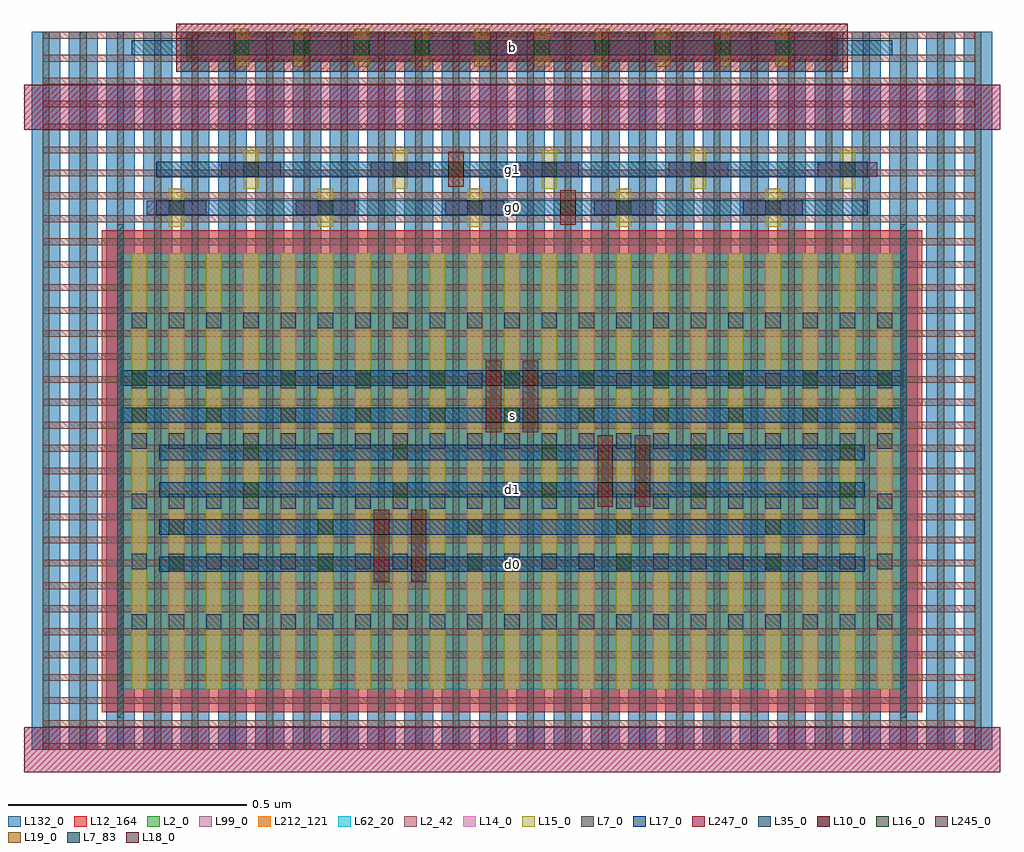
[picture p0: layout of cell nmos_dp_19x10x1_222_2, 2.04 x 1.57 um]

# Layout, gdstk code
import gdstk
lib = gdstk.Library(unit=1e-6, precision=1e-12)
def R(c, l, rs):  # rectangles x0, y0, x1, y1
    for r in rs: c.add(gdstk.rectangle(r[:2], r[2:], *l))
def A(c, l, x, y, w, h, nx, ny, dx, dy):  # array of equal rectangles
    R(c, l, [(x+i*dx, y+j*dy, x+i*dx+w, y+j*dy+h) for i in range(nx) for j in range(ny)])
L2_0 = (2, 0)
L2_42 = (2, 42)
L7_0 = (7, 0)
L7_83 = (7, 83)
L10_0 = (10, 0)
L12_164 = (12, 164)
L14_0 = (14, 0)
L15_0 = (15, 0)
L16_0 = (16, 0)
L17_0 = (17, 0)
L18_0 = (18, 0)
L19_0 = (19, 0)
L35_0 = (35, 0)
L62_20 = (62, 20)
L99_0 = (99, 0)
L132_0 = (132, 0)
L212_121 = (212, 121)
L245_0 = (245, 0)
L247_0 = (247, 0)

nmos_dp_19x10x1_222_2 = lib.new_cell('nmos_dp_19x10x1_222_2')
R(nmos_dp_19x10x1_222_2, L2_0, [(0.186,0.127,1.824,1.039), (0.323,1.439,1.687,1.499)])
A(nmos_dp_19x10x1_222_2, L2_42, 0.023, 0, 1.95, 0.014, 1, 32, 0, 0.048)
A(nmos_dp_19x10x1_222_2, L7_0, 0.023, 0, 0.014, 1.502, 26, 1, 0.078, 0)
R(nmos_dp_19x10x1_222_2, L7_83, [(0.179,0.067,0.193,1.099), (1.817,0.067,1.831,1.099)])
R(nmos_dp_19x10x1_222_2, L10_0, [(0.303,1.419,1.707,1.519)])
R(nmos_dp_19x10x1_222_2, L12_164, [(0.147,0.079,1.863,1.087)])
A(nmos_dp_19x10x1_222_2, L14_0, 0.208, 0.127, 0.034, 0.912, 21, 1, 0.078, 0)
R(nmos_dp_19x10x1_222_2, L14_0, [(0.338,1.449,1.672,1.489)])
A(nmos_dp_19x10x1_222_2, L15_0, 0.209, 0.127, 0.032, 0.912, 21, 1, 0.078, 0)
A(nmos_dp_19x10x1_222_2, L15_0, 0.287, 1.094, 0.032, 0.08, 5, 1, 0.312, 0)
A(nmos_dp_19x10x1_222_2, L15_0, 0.443, 1.174, 0.032, 0.08, 5, 1, 0.312, 0)
A(nmos_dp_19x10x1_222_2, L15_0, 0.422, 1.429, 0.032, 0.08, 10, 1, 0.126, 0)
A(nmos_dp_19x10x1_222_2, L16_0, 0.287, 0.372, 0.032, 0.032, 5, 2, 0.312, 0.078)
A(nmos_dp_19x10x1_222_2, L16_0, 0.443, 0.528, 0.032, 0.032, 5, 2, 0.312, 0.078)
A(nmos_dp_19x10x1_222_2, L16_0, 0.209, 0.684, 0.032, 0.032, 11, 2, 0.156, 0.078)
A(nmos_dp_19x10x1_222_2, L16_0, 0.287, 1.118, 0.032, 0.032, 5, 1, 0.312, 0)
A(nmos_dp_19x10x1_222_2, L16_0, 0.443, 1.198, 0.032, 0.032, 5, 1, 0.312, 0)
A(nmos_dp_19x10x1_222_2, L16_0, 0.422, 1.453, 0.032, 0.032, 10, 1, 0.126, 0)
A(nmos_dp_19x10x1_222_2, L17_0, 0.267, 0.372, 1.476, 0.032, 1, 4, 0, 0.078)
R(nmos_dp_19x10x1_222_2, L17_0, [(0.186,0.684,1.824,0.716), (0.186,0.762,1.824,0.794), (0.261,1.118,1.749,1.15), (0.261,1.198,1.749,1.23), (0.209,1.453,1.801,1.485)])
R(nmos_dp_19x10x1_222_2, L18_0, [(0.716,0.372,0.748,0.404), (0.794,0.372,0.826,0.404), (0.716,0.45,0.748,0.482), (0.794,0.45,0.826,0.482), (1.184,0.528,1.216,0.56), (1.262,0.528,1.294,0.56), (1.184,0.606,1.216,0.638), (1.262,0.606,1.294,0.638), (0.95,0.684,0.982,0.716), (1.028,0.684,1.06,0.716), (0.95,0.762,0.982,0.794), (1.028,0.762,1.06,0.794), (1.106,1.118,1.138,1.15), (0.872,1.198,0.904,1.23)])
R(nmos_dp_19x10x1_222_2, L19_0, [(0.716,0.352,0.748,0.502), (0.794,0.352,0.826,0.502), (1.184,0.508,1.216,0.658), (1.262,0.508,1.294,0.658), (0.95,0.664,0.982,0.814), (1.028,0.664,1.06,0.814), (1.106,1.098,1.138,1.171), (0.872,1.178,0.904,1.251)])
A(nmos_dp_19x10x1_222_2, L35_0, 0.209, 0.252, 0.032, 0.032, 21, 6, 0.078, 0.126)
A(nmos_dp_19x10x1_222_2, L35_0, 0.287, 1.118, 0.032, 0.032, 5, 1, 0.312, 0)
A(nmos_dp_19x10x1_222_2, L35_0, 0.443, 1.198, 0.032, 0.032, 5, 1, 0.312, 0)
A(nmos_dp_19x10x1_222_2, L35_0, 0.422, 1.453, 0.032, 0.032, 10, 1, 0.126, 0)
R(nmos_dp_19x10x1_222_2, L62_20, [(0.186,0.127,1.824,1.039)])
R(nmos_dp_19x10x1_222_2, L99_0, [(0.186,0.127,1.824,1.039), (0.333,1.444,1.677,1.494)])
A(nmos_dp_19x10x1_222_2, L132_0, 0, 0, 0.06, 1.502, 26, 1, 0.078, 0)
R(nmos_dp_19x10x1_222_2, L212_121, [(0.186,0.127,1.824,1.039)])
A(nmos_dp_19x10x1_222_2, L245_0, 0.241, 1.119, 0.124, 0.03, 5, 1, 0.312, 0)
A(nmos_dp_19x10x1_222_2, L245_0, 0.397, 1.199, 0.124, 0.03, 5, 1, 0.312, 0)
R(nmos_dp_19x10x1_222_2, L247_0, [(-0.016,-0.047,2.026,0.047), (-0.016,1.297,2.026,1.391)])
nmos_dp_19x10x1_222_2.add(gdstk.Label('s', (1.005,0.7), layer=16, texttype=20))
nmos_dp_19x10x1_222_2.add(gdstk.Label('d1', (1.005,0.544), layer=16, texttype=20))
nmos_dp_19x10x1_222_2.add(gdstk.Label('d0', (1.005,0.388), layer=16, texttype=20))
nmos_dp_19x10x1_222_2.add(gdstk.Label('g0', (1.005,1.1345), layer=16, texttype=20))
nmos_dp_19x10x1_222_2.add(gdstk.Label('g1', (1.005,1.2145), layer=16, texttype=20))
nmos_dp_19x10x1_222_2.add(gdstk.Label('b', (1.005,1.469), layer=16, texttype=20))

lib.write_gds('nmos_dp_19x10x1_222_2.gds')
